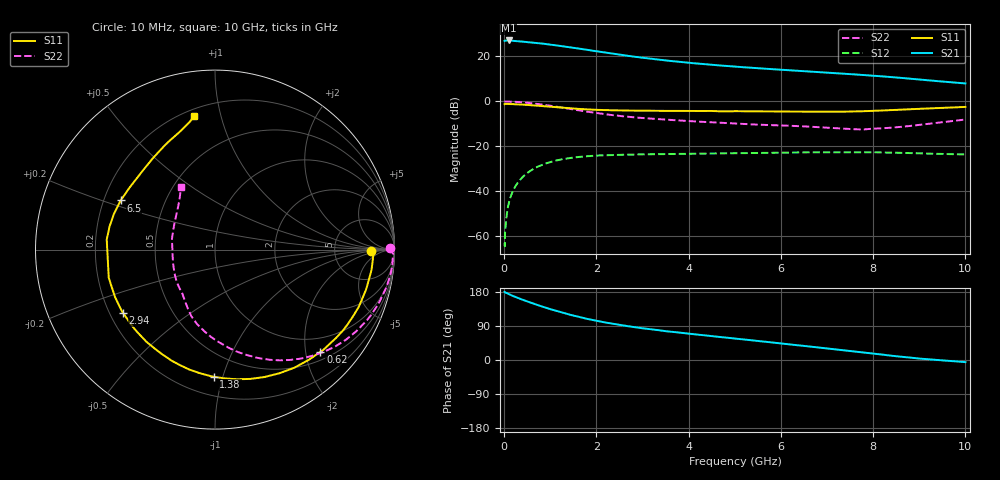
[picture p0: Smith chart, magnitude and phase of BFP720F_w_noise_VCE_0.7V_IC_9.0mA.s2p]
! Infineon Technologies  Discrete & RF Semiconductors
! BFP720F
! VCE =  0.7 V,  IC =  9.0 mA
! Common Emitter S-Parameters:  Jan 2016
# GHz  S  MA  R  50
!  f  S11  S21  S12  S22
! GHz  MAG  ANG  MAG  ANG  MAG  ANG  MAG  ANG
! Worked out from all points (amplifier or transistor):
!   233 points, 10 MHz to 10 GHz, reference 50 ohm
!   highest |S21| = 27.1 dB at 100 MHz (marker M1)
!   |S21| within 3 dB of that: start of sweep to 1.414 GHz
!   unconditionally stable (mu >= 1): start of sweep to 12.29 MHz; 7.137 GHz to end of sweep
!   at 200 MHz: K = 0.05, MSG = 33.2 dB, |S12| = -39.5 dB
!   at 1.74 GHz: K = 0.30, MSG = 23.8 dB, |S12| = -24.5 dB
!   at 10 GHz: K = 1.32, MAG = 12.4 dB, |S12| = -23.6 dB
!   lowest NFmin = 0.52 dB at 450 MHz
!   S11 on the Smith chart (normalised r, x): 10 MHz: 14, -1; 620 MHz: 0.67, -2.30; 1.38 GHz: 0.33, -0.94; 2.94 GHz: 0.25, -0.29; 6.5 GHz: 0.27, +0.23; 10 GHz: 0.24, +0.83
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0.01  0.8687 -0.6  22.17 179.7  0.0007 -26.0  0.9756 0.5
0.02  0.8829 -1.5  22.44 177.7  0.0012 87.6  0.9932 -1.5
0.05  0.881 -3.9  22.7 177.0  0.0026 85.4  0.9916 -2.5
0.1  0.8793 -7.5  22.71 174.0  0.0054 85.7  0.9916 -5.0
0.24  0.866 -17.7  22.06 166.5  0.0127 80.1  0.978 -12.2
0.36  0.8535 -26.2  21.49 160.8  0.0187 75.3  0.9594 -18.3
0.62  0.8183 -44.1  20.32 149.6  0.0308 65.2  0.9041 -30.9
0.8  0.7926 -56.2  19.53 142.0  0.0379 58.8  0.8596 -39.0
1  0.7616 -68.8  18.37 134.2  0.0448 51.9  0.8012 -47.7
1.38  0.7083 -90.5  16.26 121.1  0.0541 41.1  0.6934 -62.5
1.68  0.6741 -106.1  14.66 111.8  0.0589 34.1  0.6162 -72.8
1.92  0.6539 -116.4  13.44 105.4  0.0615 29.3  0.5651 -80.1
2.2  0.6401 -126.6  12.16 98.8  0.0636 24.7  0.5164 -87.7
2.6  0.6275 -138.1  10.6 90.6  0.0652 19.4  0.4634 -96.7
2.94  0.6216 -145.5  9.537 84.8  0.0661 16.2  0.4313 -102.6
3.4  0.6168 -152.9  8.385 77.8  0.0671 12.6  0.3995 -108.4
4  0.6122 -160.3  7.232 69.4  0.0682 8.8  0.3647 -114.2
5.1  0.6042 173.3  5.846 55.4  0.0705 3.2  0.3182 -123.4
6.5  0.5927 152.5  4.718 37.2  0.0734 -4.0  0.279 -139.9
6.8  0.5882 147.2  4.504 33.2  0.0736 -5.7  0.2674 -145.6
8.4  0.6418 116.4  3.474 11.3  0.0725 -15.1  0.2604 152.3
10  0.7532 98.8  2.51 -5.6  0.0658 -19.8  0.3949 118.7
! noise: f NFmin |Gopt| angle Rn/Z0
0.45  0.52  0.33  4  0.18
0.9  0.55  0.31  9  0.15
1.8  0.6  0.29  15  0.14
2.4  0.63  0.26  25  0.14
5.5  0.77  0.25  48  0.08
10  0.99  0.27  -94  0.17
